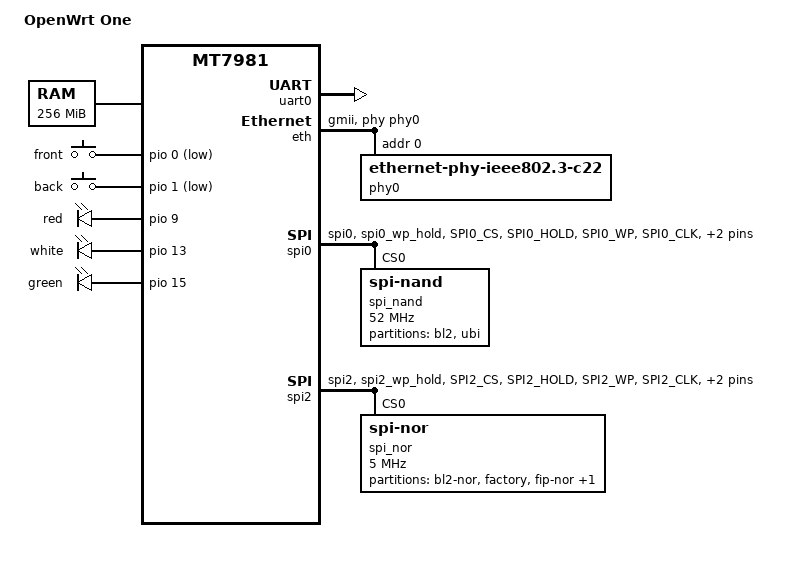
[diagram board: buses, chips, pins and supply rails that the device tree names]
// SPDX-License-Identifier: GPL-2.0
/*
 * OpenWrt One board device tree
 *
 * Copyright (c) 2024 John Crispin <john@phrozen.org>
 * Copyright (c) 2026 Daniel Golle <daniel@makrotopia.org>
 */

/dts-v1/;
#include "mt7981.dtsi"
#include <dt-bindings/gpio/gpio.h>
#include <dt-bindings/input/input.h>

/ {
	#address-cells = <1>;
	#size-cells = <1>;
	model = "OpenWrt One";
	compatible = "openwrt,one", "mediatek,mt7981";

	chosen {
		stdout-path = &uart0;
		tick-timer = &timer0;
	};

	memory@40000000 {
		device_type = "memory";
		reg = <0x40000000 0x10000000>;
	};

	keys {
		compatible = "gpio-keys";

		front {
			label = "front";
			gpios = <&pio 0 GPIO_ACTIVE_LOW>;
			linux,code = <BTN_0>;
		};

		back {
			label = "back";
			gpios = <&pio 1 GPIO_ACTIVE_LOW>;
			linux,code = <BTN_1>;
		};
	};

	leds {
		compatible = "gpio-leds";

		led_red: red {
			label = "red";
			gpios = <&pio 9 GPIO_ACTIVE_HIGH>;
		};

		led_white: white {
			label = "white";
			gpios = <&pio 13 GPIO_ACTIVE_HIGH>;
		};

		led_green: green {
			label = "green";
			gpios = <&pio 15 GPIO_ACTIVE_HIGH>;
		};
	};

	bootstd {
		compatible = "u-boot,boot-std";

		openwrt {
			compatible = "u-boot,openwrt";
		};
	};
};

&uart0 {
	status = "okay";
};

&eth {
	status = "okay";
	mediatek,gmac-id = <1>;
	phy-mode = "gmii";
	phy-handle = <&phy0>;

	phy0: eth-phy@0 {
		compatible = "ethernet-phy-ieee802.3-c22";
		reg = <0>;
	};
};

&pio {
	spi_flash_pins: spi0-pins-func-1 {
		mux {
			function = "flash";
			groups = "spi0", "spi0_wp_hold";
		};

		conf-pu {
			pins = "SPI0_CS", "SPI0_HOLD", "SPI0_WP";
			drive-strength = <MTK_DRIVE_8mA>;
			bias-pull-up = <MTK_PUPD_SET_R1R0_11>;
		};

		conf-pd {
			pins = "SPI0_CLK", "SPI0_MOSI", "SPI0_MISO";
			drive-strength = <MTK_DRIVE_8mA>;
			bias-pull-down = <MTK_PUPD_SET_R1R0_11>;
		};
	};

	spi2_flash_pins: spi2-spi2-pins {
		mux {
			function = "spi";
			groups = "spi2", "spi2_wp_hold";
		};

		conf-pu {
			pins = "SPI2_CS", "SPI2_HOLD", "SPI2_WP";
			drive-strength = <MTK_DRIVE_8mA>;
			bias-pull-down = <MTK_PUPD_SET_R1R0_00>;
		};

		conf-pd {
			pins = "SPI2_CLK", "SPI2_MOSI", "SPI2_MISO";
			drive-strength = <MTK_DRIVE_8mA>;
			bias-pull-down = <MTK_PUPD_SET_R1R0_00>;
		};
	};
};

&spi0 {
	#address-cells = <1>;
	#size-cells = <0>;
	pinctrl-names = "default";
	pinctrl-0 = <&spi_flash_pins>;
	status = "okay";
	must_tx;
	enhance_timing;
	dma_ext;
	ipm_design;
	support_quad;
	tick_dly = <2>;
	sample_sel = <0>;

	spi_nand@0 {
		compatible = "spi-nand";
		reg = <0>;
		spi-max-frequency = <52000000>;

		partitions {
			compatible = "fixed-partitions";
			#address-cells = <1>;
			#size-cells = <1>;

			partition@0 {
				label = "bl2";
				reg = <0x0 0x100000>;
			};

			partition@100000 {
				label = "ubi";
				reg = <0x100000 0xff00000>;
				compatible = "linux,ubi";
			};
		};
	};
};

&spi2 {
	#address-cells = <1>;
	#size-cells = <0>;
	pinctrl-names = "default";
	pinctrl-0 = <&spi2_flash_pins>;
	status = "okay";
	must_tx;
	enhance_timing;
	dma_ext;
	ipm_design;
	tick_dly = <2>;
	sample_sel = <0>;

	spi_nor@0 {
		compatible = "jedec,spi-nor";
		reg = <0>;
		spi-max-frequency = <5000000>;

		partitions {
			compatible = "fixed-partitions";
			#address-cells = <1>;
			#size-cells = <1>;

			partition@0 {
				label = "bl2-nor";
				reg = <0x0 0x40000>;
			};

			partition@40000 {
				label = "factory";
				reg = <0x40000 0xc0000>;
			};

			partition@100000 {
				label = "fip-nor";
				reg = <0x100000 0x80000>;
			};

			partition@180000 {
				label = "recovery";
				reg = <0x180000 0xc80000>;
			};
		};
	};
};

&watchdog {
	status = "disabled";
};
